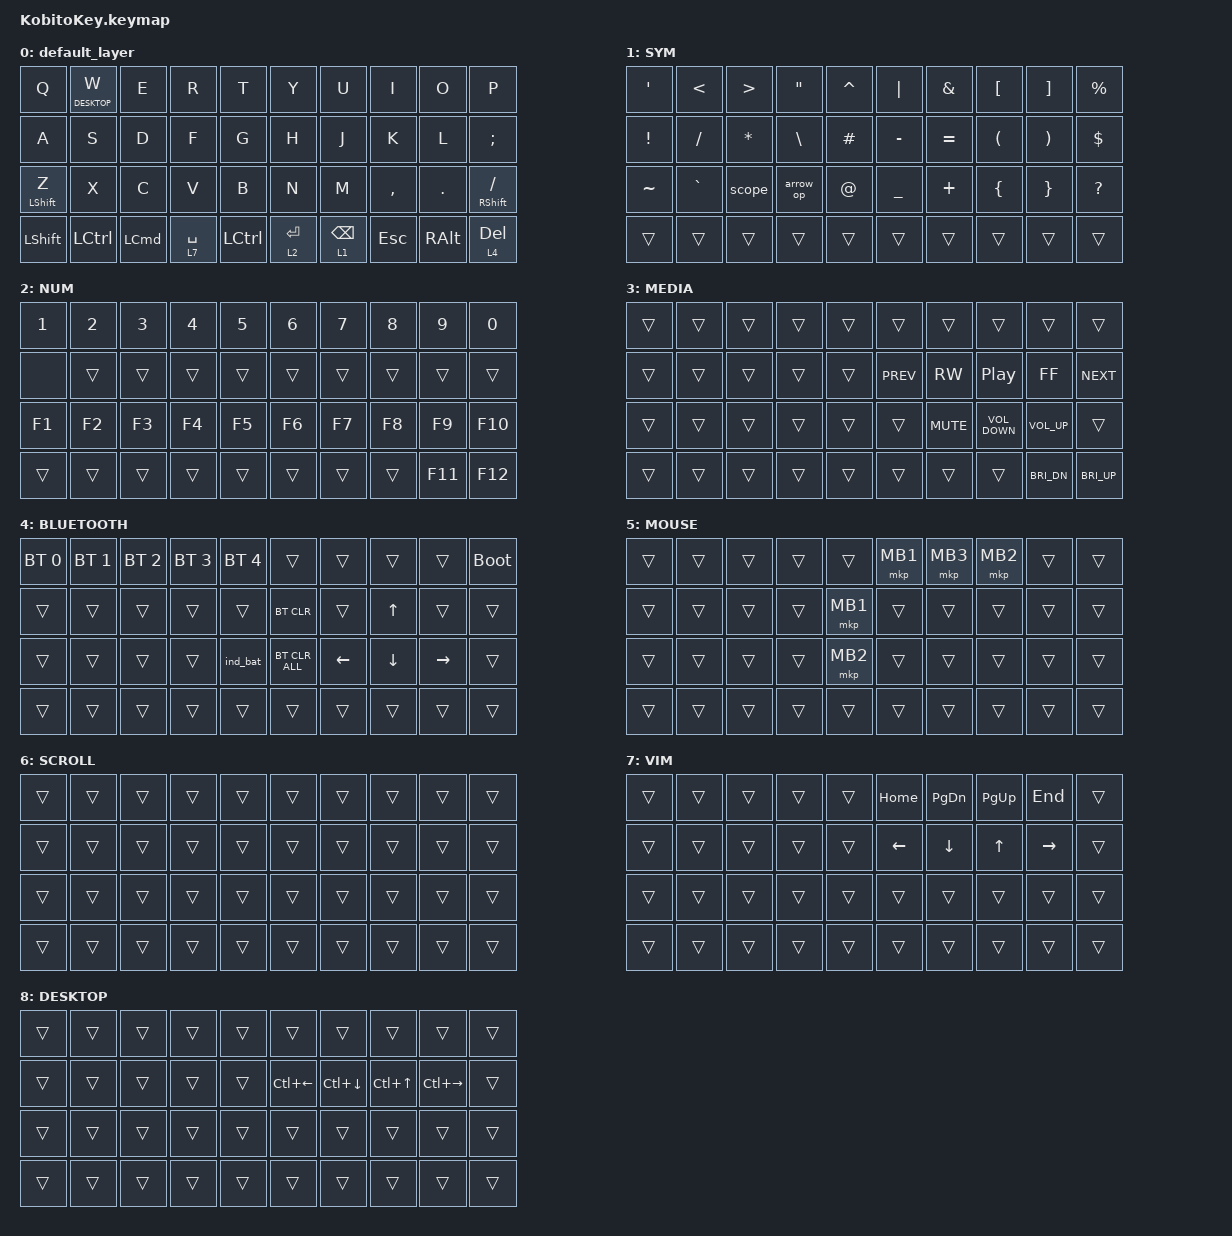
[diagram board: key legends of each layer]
#include <input/processors.dtsi>
#include <behaviors/rgbled_widget.dtsi>
#include <behaviors.dtsi>
#include <dt-bindings/zmk/bt.h>
#include <dt-bindings/zmk/keys.h>
#include <dt-bindings/zmk/pointing.h>

#define MOUSE 5
#define SCROLL 6
#define VIM 7
#define DESKTOP 8

&mt {
    flavor = "balanced";
    quick-tap-ms = <0>;
    require-prior-idle-ms = <150>;
};

&lt {
    tapping-term-ms = <200>;
    quick-tap-ms = <200>;
    flavor = "balanced";
};

&mkp_input_listener { input-processors = <&zip_temp_layer MOUSE 250>; };

/ {
    combos {
        compatible = "zmk,combos";

        tab {
            bindings = <&kp TAB>;
            key-positions = <1 2>;
            slow-release;
        };

        enter {
            bindings = <&kp ENTER>;
            key-positions = <16 17>;
            slow-release;
        };

        input_switch {
            bindings = <&input_tap>;
            key-positions = <11 12>;
            slow-release;
        };
    };

    macros {
        to_layer_0: to_layer_0 {
            compatible = "zmk,behavior-macro-one-param";
            #binding-cells = <1>;
            bindings = <&to 0 &macro_param_1to1 &kp MACRO_PLACEHOLDER>;
            label = "TO_LAYER_0";
        };

        scope: scope {
            compatible = "zmk,behavior-macro";
            #binding-cells = <0>;
            bindings = <&kp LS(SEMICOLON) &kp LS(SEMICOLON)>;
            label = "SCOPE_RESOLUTION";
        };

        arrow_op: arrow_op {
            compatible = "zmk,behavior-macro";
            #binding-cells = <0>;
            bindings = <&kp MINUS &kp LS(DOT)>;
            label = "ARROW_OPERATOR";
        };

        input_tap: input_tap {
            compatible = "zmk,behavior-macro";
            #binding-cells = <0>;
            bindings = <&macro_tap>, <&kp LC(SPACE)>;

            label = "INPUT_TAP";
        };
    };

    behaviors {
        lt_to_layer_0: lt_to_layer_0 {
            compatible = "zmk,behavior-hold-tap";
            label = "LAYER_TAP_TO_0";
            bindings = <&mo>, <&to_layer_0>;

            #binding-cells = <2>;
            tapping-term-ms = <200>;
        };
    };

    keymap {
        compatible = "zmk,keymap";

        default_layer {
            bindings = <
&kp Q             &lt DESKTOP W  &kp E             &kp R        &kp T             &kp Y    &kp U            &kp I                   &kp O          &kp P
&kp A             &kp S          &kp D             &kp F        &kp G             &kp H    &kp J            &kp K                   &kp L          &kp SEMICOLON
&mt LEFT_SHIFT Z  &kp X          &kp C             &kp V        &kp B             &kp N    &kp M            &kp COMMA               &kp DOT        &mt RIGHT_SHIFT SLASH
&kp LEFT_SHIFT    &kp LCTRL      &kp LEFT_COMMAND  &lt 7 SPACE  &kp LEFT_CONTROL  &lt_to_layer_0 2 ENTER  &lt 1 BACKSPACE  &kp ESC  &kp RIGHT_ALT  &lt 4 DEL
            >;
        };

        SYM {
            bindings = <
&kp SINGLE_QUOTE  &kp LESS_THAN  &kp GREATER_THAN  &kp DOUBLE_QUOTES  &kp CARET    &kp PIPE        &kp AMPERSAND  &kp LEFT_BRACKET      &kp RIGHT_BRACKET      &kp PERCENT
&kp EXCLAMATION   &kp SLASH      &kp ASTRK         &kp BACKSLASH      &kp HASH     &kp MINUS       &kp EQUAL      &kp LEFT_PARENTHESIS  &kp RIGHT_PARENTHESIS  &kp DOLLAR
&kp TILDE         &kp GRAVE      &scope            &arrow_op          &kp AT_SIGN  &kp UNDERSCORE  &kp PLUS       &kp LEFT_BRACE        &kp RIGHT_BRACE        &kp QUESTION
&trans            &trans         &trans            &trans             &trans       &trans          &trans         &trans                &trans                 &trans
            >;
        };

        NUM {
            bindings = <
&kp NUMBER_1  &kp NUMBER_2  &kp NUMBER_3  &kp NUMBER_4  &kp NUMBER_5  &kp NUMBER_6  &kp NUMBER_7  &kp NUMBER_8  &kp NUMBER_9  &kp N0
&none         &trans        &trans        &trans        &trans        &trans        &trans        &trans        &trans        &trans
&kp F1        &kp F2        &kp F3        &kp F4        &kp F5        &kp F6        &kp F7        &kp F8        &kp F9        &kp F10
&trans        &trans        &trans        &trans        &trans        &trans        &trans        &trans        &kp F11       &kp F12
            >;
        };

        MEDIA {
            bindings = <
&trans  &trans  &trans  &trans  &trans  &trans      &trans      &trans             &trans           &trans
&trans  &trans  &trans  &trans  &trans  &kp C_PREV  &kp C_RW    &kp C_PLAY_PAUSE   &kp C_FF         &kp C_NEXT
&trans  &trans  &trans  &trans  &trans  &trans      &kp C_MUTE  &kp C_VOLUME_DOWN  &kp C_VOLUME_UP  &trans
&trans  &trans  &trans  &trans  &trans  &trans      &trans      &trans             &kp C_BRI_DN     &kp C_BRI_UP
            >;
        };

        BLUETOOTH {
            bindings = <
&bt BT_SEL 0  &bt BT_SEL 1  &bt BT_SEL 2  &bt BT_SEL 3  &bt BT_SEL 4  &trans          &trans    &trans    &trans     &bootloader
&trans        &trans        &trans        &trans        &trans        &bt BT_CLR      &trans    &kp UP    &trans     &trans
&trans        &trans        &trans        &trans        &ind_bat      &bt BT_CLR_ALL  &kp LEFT  &kp DOWN  &kp RIGHT  &trans
&trans        &trans        &trans        &trans        &trans        &trans          &trans    &trans    &trans     &trans
            >;
        };

        MOUSE {
            bindings = <
&trans  &trans  &trans  &trans  &trans    &mkp MB1  &mkp MB3  &mkp MB2  &trans  &trans
&trans  &trans  &trans  &trans  &mkp MB1  &trans    &trans    &trans    &trans  &trans
&trans  &trans  &trans  &trans  &mkp MB2  &trans    &trans    &trans    &trans  &trans
&trans  &trans  &trans  &trans  &trans    &trans    &trans    &trans    &trans  &trans
            >;
        };

        SCROLL {
            bindings = <
&trans  &trans  &trans  &trans  &trans  &trans  &trans  &trans  &trans  &trans
&trans  &trans  &trans  &trans  &trans  &trans  &trans  &trans  &trans  &trans
&trans  &trans  &trans  &trans  &trans  &trans  &trans  &trans  &trans  &trans
&trans  &trans  &trans  &trans  &trans  &trans  &trans  &trans  &trans  &trans
            >;
        };

        VIM {
            bindings = <
&trans  &trans  &trans  &trans  &trans  &kp HOME  &kp PAGE_DOWN  &kp PAGE_UP  &kp END    &trans
&trans  &trans  &trans  &trans  &trans  &kp LEFT  &kp DOWN       &kp UP       &kp RIGHT  &trans
&trans  &trans  &trans  &trans  &trans  &trans    &trans         &trans       &trans     &trans
&trans  &trans  &trans  &trans  &trans  &trans    &trans         &trans       &trans     &trans
            >;
        };

        DESKTOP {
            bindings = <
&trans  &trans  &trans  &trans  &trans  &trans        &trans        &trans      &trans         &trans
&trans  &trans  &trans  &trans  &trans  &kp LC(LEFT)  &kp LC(DOWN)  &kp LC(UP)  &kp LC(RIGHT)  &trans
&trans  &trans  &trans  &trans  &trans  &trans        &trans        &trans      &trans         &trans
&trans  &trans  &trans  &trans  &trans  &trans        &trans        &trans      &trans         &trans
            >;
        };
    };
};
